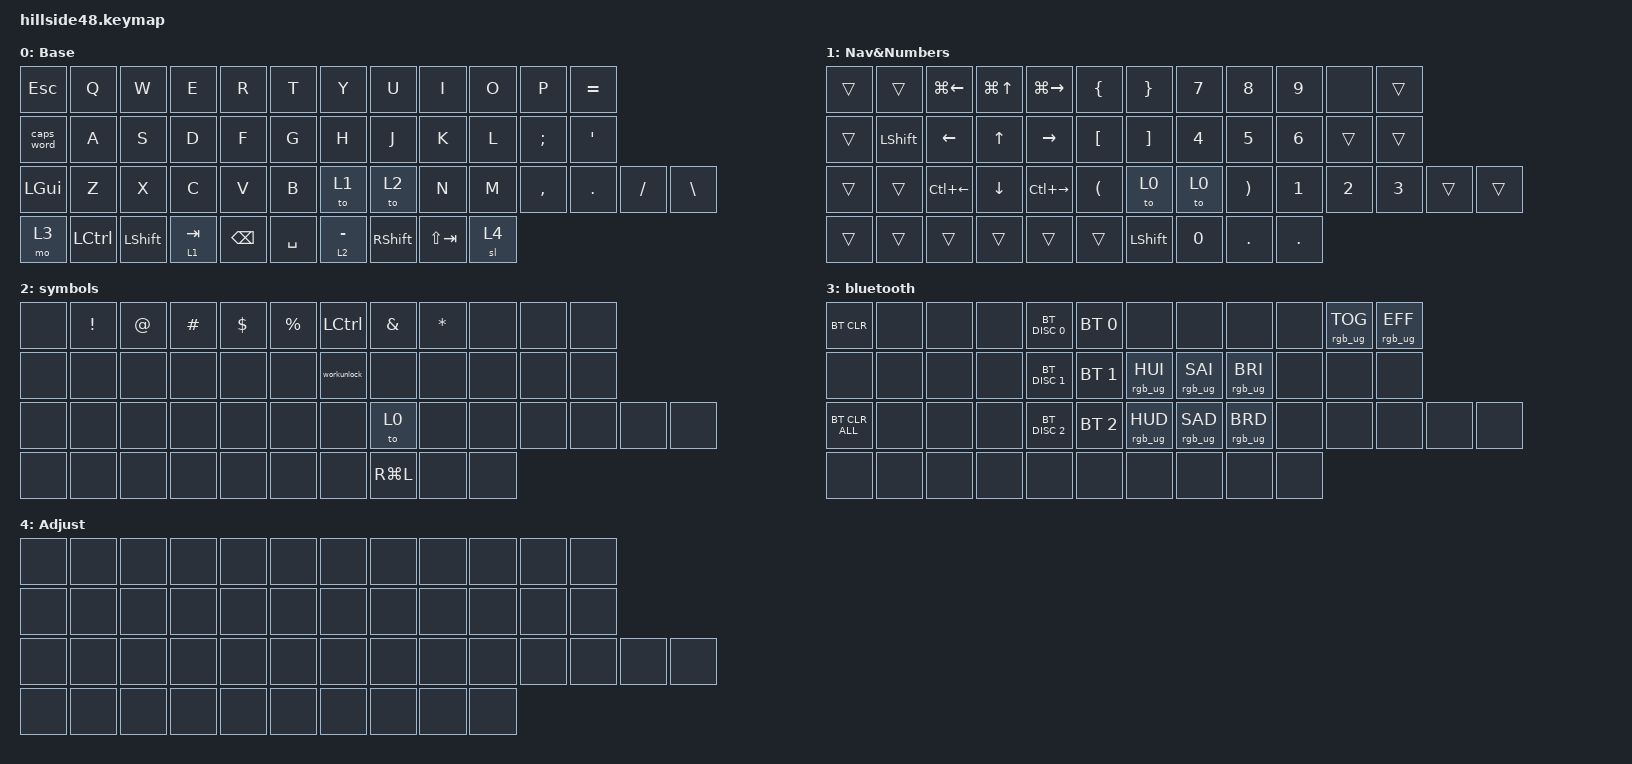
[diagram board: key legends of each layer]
/*
 * Hillside48 Keymap - Using Generic 3x6 Layout + Extras
 * 
 * Core 3x6 + 3 thumbs syncs from generic system
 * Extra keys: outer column + 4th thumb per side
 * 
 * Layout: 3x6 + 2 extra row keys + 4 thumbs = 48 keys
 */

#include <behaviors.dtsi>
#include <dt-bindings/zmk/bt.h>
#include <dt-bindings/zmk/keys.h>
#include <dt-bindings/zmk/rgb.h>

// Include the shared layer definitions FIRST
// #include "generic_3x6_layers.dtsi"

#define QWERTY_L 0
#define SYM_L    1
#define NUM_L    2
#define ADJ_L    3

/ {
    combos {
        compatible = "zmk,combos";

        enterrrr {
            bindings = <&kp ENTER>;
            key-positions = <19 20>;
        };

        bangit {
            bindings = <&kp F5>;
            key-positions = <42 43>;  // BSPC + SPACE
        };

        capslock {
            bindings = <&kp CAPSLOCK>;
            key-positions = <40 45>;  // LSHFT + RSHFT
        };

        combo_swapper {
            timeout-ms = <50>;
            key-positions = <6 7>;
            bindings = <&swapper>;
            layers = <0>;
        };

        Screenshot {
            bindings = <&wScreenshot>;
            key-positions = <46 39>;
        };
    };

    behaviors {
        swapper: swapper {
            compatible = "zmk,behavior-tri-state";
            label = "SWAPPER";
            #binding-cells = <0>;
            bindings = <&kt LALT>, <&kp TAB>, <&kt LALT>;

            ignored-key-positions = <6 7 40 45>;  // combo keys (Y, U) + shift keys for reverse tabbing
        };
    };

    macros {
        wScreenshot: wScreenshot {
            compatible = "zmk,behavior-macro";
            #binding-cells = <0>;
            bindings = <&kp RC(RS(ENTER))>;
            label = "WSCREENSHOT";
        };

        workunlock: workunlock {
            compatible = "zmk,behavior-macro";
            #binding-cells = <0>;
            bindings = <&none &kp LS(R) &kp E &kp N &kp N &kp A &kp T &kp R &kp E &kp K &kp A &kp B &kp N0 &kp N3 &kp N2 &kp N1 &kp N0 &kp N0 &kp RET>;
            label = "WORKUNLOCK";
        };
    };

    keymap {
        compatible = "zmk,keymap";

        alpha {
            display-name = "Base";
            bindings = <
&kp ESC     &kp Q      &kp W      &kp E      &kp R          &kp T      &kp Y        &kp U      &kp I        &kp O  &kp P      &kp EQUAL
&caps_word  &kp A      &kp S      &kp D      &kp F          &kp G      &kp H        &kp J      &kp K        &kp L  &kp SEMI   &kp APOS
&kp LGUI    &kp Z      &kp X      &kp C      &kp V          &kp B      &to 1        &to 2      &kp N        &kp M  &kp COMMA  &kp DOT    &kp FSLH  &kp BSLH
&mo 3       &kp LCTRL  &kp LSHFT  &lt 1 TAB  &kp BACKSPACE  &kp SPACE  &lt 2 MINUS  &kp RSHFT  &kp LS(TAB)  &sl 4
            >;
        };

        navNum {
            display-name = "Nav&Numbers";
            bindings = <
&trans  &trans     &kp LG(LEFT_ARROW)  &kp LG(UP_ARROW)  &kp LG(RIGHT_ARROW)  &kp LEFT_BRACE        &kp RIGHT_BRACE    &kp N7  &kp N8                 &kp N9   &none   &trans
&trans  &kp LSHFT  &kp LEFT_ARROW      &kp UP_ARROW      &kp RIGHT_ARROW      &kp LEFT_BRACKET      &kp RIGHT_BRACKET  &kp N4  &kp N5                 &kp N6   &trans  &trans
&trans  &trans     &kp LC(LEFT_ARROW)  &kp DOWN_ARROW    &kp LC(RIGHT_ARROW)  &kp LEFT_PARENTHESIS  &to 0              &to 0   &kp RIGHT_PARENTHESIS  &kp N1   &kp N2  &kp N3  &trans  &trans
&trans  &trans     &trans              &trans            &trans               &trans                &kp LSHFT          &kp N0  &kp PERIOD             &kp DOT
            >;
        };

        symbols {
            bindings = <
&none  &kp EXCLAMATION  &kp AT_SIGN  &kp POUND  &kp DOLLAR  &kp PERCENT  &kp LCTRL    &kp AMPERSAND  &kp ASTERISK  &none  &none  &none
&none  &none            &none        &none      &none       &none        &workunlock  &none          &none         &none  &none  &none
&none  &none            &none        &none      &none       &none        &none        &to 0          &none         &none  &none  &none  &none  &none
&none  &none            &none        &none      &none       &none        &none        &kp RG(L)      &none         &none
            >;
        };

        bluetooth {
            bindings = <
&bt BT_CLR      &none  &none  &none  &bt BT_DISC 0  &bt BT_SEL 0  &none            &none            &none            &none  &rgb_ug RGB_TOG  &rgb_ug RGB_EFF
&none           &none  &none  &none  &bt BT_DISC 1  &bt BT_SEL 1  &rgb_ug RGB_HUI  &rgb_ug RGB_SAI  &rgb_ug RGB_BRI  &none  &none            &none
&bt BT_CLR_ALL  &none  &none  &none  &bt BT_DISC 2  &bt BT_SEL 2  &rgb_ug RGB_HUD  &rgb_ug RGB_SAD  &rgb_ug RGB_BRD  &none  &none            &none            &none  &none
&none           &none  &none  &none  &none          &none         &none            &none            &none            &none
            >;
        };

        adj_layer {
            display-name = "Adjust";
            bindings = <
&none  &none  &none  &none  &none  &none  &none  &none  &none  &none  &none  &none
&none  &none  &none  &none  &none  &none  &none  &none  &none  &none  &none  &none
&none  &none  &none  &none  &none  &none  &none  &none  &none  &none  &none  &none  &none  &none
&none  &none  &none  &none  &none  &none  &none  &none  &none  &none
            >;
        };
    };
};
